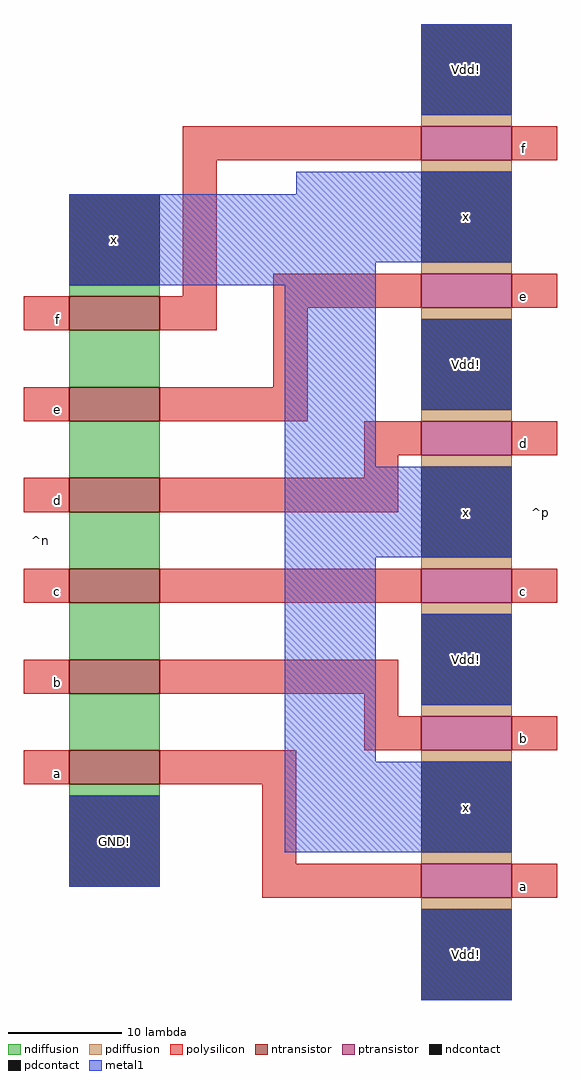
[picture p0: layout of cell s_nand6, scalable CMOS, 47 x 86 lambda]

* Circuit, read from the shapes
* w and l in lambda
.subckt s_nand6 GND! Vdd! a b c d e f x
M1 n1 a GND! VSUBS nfet w=8 l=3
M2 n2 b n1 VSUBS nfet w=8 l=3
M3 n3 c n2 VSUBS nfet w=8 l=3
M4 n4 d n3 VSUBS nfet w=8 l=3
M5 n5 e n4 VSUBS nfet w=8 l=3
M6 x f n5 VSUBS nfet w=8 l=3
M7 x a Vdd! NWELL pfet w=8 l=3
M8 Vdd! b x NWELL pfet w=8 l=3
M9 x c Vdd! NWELL pfet w=8 l=3
M10 Vdd! d x NWELL pfet w=8 l=3
M11 x e Vdd! NWELL pfet w=8 l=3
M12 Vdd! f x NWELL pfet w=8 l=3
.ends

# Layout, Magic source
magic
tech scmos
<< ndiffusion >>
rect -9 85 -1 86
rect -9 77 -1 82
rect -9 69 -1 74
rect -9 61 -1 66
rect -9 53 -1 58
rect -9 45 -1 50
rect -9 41 -1 42
<< pdiffusion >>
rect 22 100 30 101
rect 22 96 30 97
rect 22 87 30 88
rect 22 83 30 84
rect 22 74 30 75
rect 22 70 30 71
rect 22 61 30 62
rect 22 57 30 58
rect 22 48 30 49
rect 22 44 30 45
rect 22 35 30 36
rect 22 31 30 32
<< ntransistor >>
rect -9 82 -1 85
rect -9 74 -1 77
rect -9 66 -1 69
rect -9 58 -1 61
rect -9 50 -1 53
rect -9 42 -1 45
<< ptransistor >>
rect 22 97 30 100
rect 22 84 30 87
rect 22 71 30 74
rect 22 58 30 61
rect 22 45 30 48
rect 22 32 30 35
<< polysilicon >>
rect 1 97 22 100
rect 30 97 34 100
rect 1 85 4 97
rect -13 82 -9 85
rect -1 82 4 85
rect 9 84 22 87
rect 30 84 34 87
rect 9 77 12 84
rect -13 74 -9 77
rect -1 74 12 77
rect 17 71 22 74
rect 30 71 34 74
rect 17 69 20 71
rect -13 66 -9 69
rect -1 66 20 69
rect -13 58 -9 61
rect -1 58 22 61
rect 30 58 34 61
rect -13 50 -9 53
rect -1 50 20 53
rect 17 48 20 50
rect 17 45 22 48
rect 30 45 34 48
rect -13 42 -9 45
rect -1 42 11 45
rect 8 35 11 42
rect 8 32 22 35
rect 30 32 34 35
<< ndcontact >>
rect -9 86 -1 94
rect -9 33 -1 41
<< pdcontact >>
rect 22 101 30 109
rect 22 88 30 96
rect 22 75 30 83
rect 22 62 30 70
rect 22 49 30 57
rect 22 36 30 44
rect 22 23 30 31
<< metal1 >>
rect 22 101 30 109
rect 11 94 30 96
rect -9 88 30 94
rect -9 86 18 88
rect 10 70 18 86
rect 22 75 30 83
rect 10 62 30 70
rect 10 44 18 62
rect 22 49 30 57
rect -9 33 -1 41
rect 10 36 30 44
rect 22 23 30 31
<< labels >>
rlabel metal1 26 40 26 40 1 x
rlabel metal1 26 53 26 53 5 Vdd!
rlabel metal1 26 27 26 27 1 Vdd!
rlabel polysilicon 31 46 31 46 1 b
rlabel polysilicon 31 33 31 33 1 a
rlabel metal1 26 66 26 66 5 x
rlabel polysilicon 31 59 31 59 1 c
rlabel metal1 26 79 26 79 1 Vdd!
rlabel polysilicon 31 72 31 72 1 d
rlabel metal1 26 92 26 92 1 x
rlabel polysilicon 31 85 31 85 1 e
rlabel metal1 26 105 26 105 5 Vdd!
rlabel metal1 -5 37 -5 37 1 GND!
rlabel polysilicon -10 43 -10 43 3 a
rlabel polysilicon -10 51 -10 51 3 b
rlabel polysilicon -10 59 -10 59 3 c
rlabel polysilicon -10 67 -10 67 3 d
rlabel polysilicon -10 75 -10 75 3 e
rlabel metal1 -5 90 -5 90 1 x
rlabel polysilicon -10 83 -10 83 3 f
rlabel polysilicon 31 98 31 98 1 f
rlabel space -14 33 -9 94 7 ^n
rlabel space 30 23 35 109 3 ^p
<< end >>
